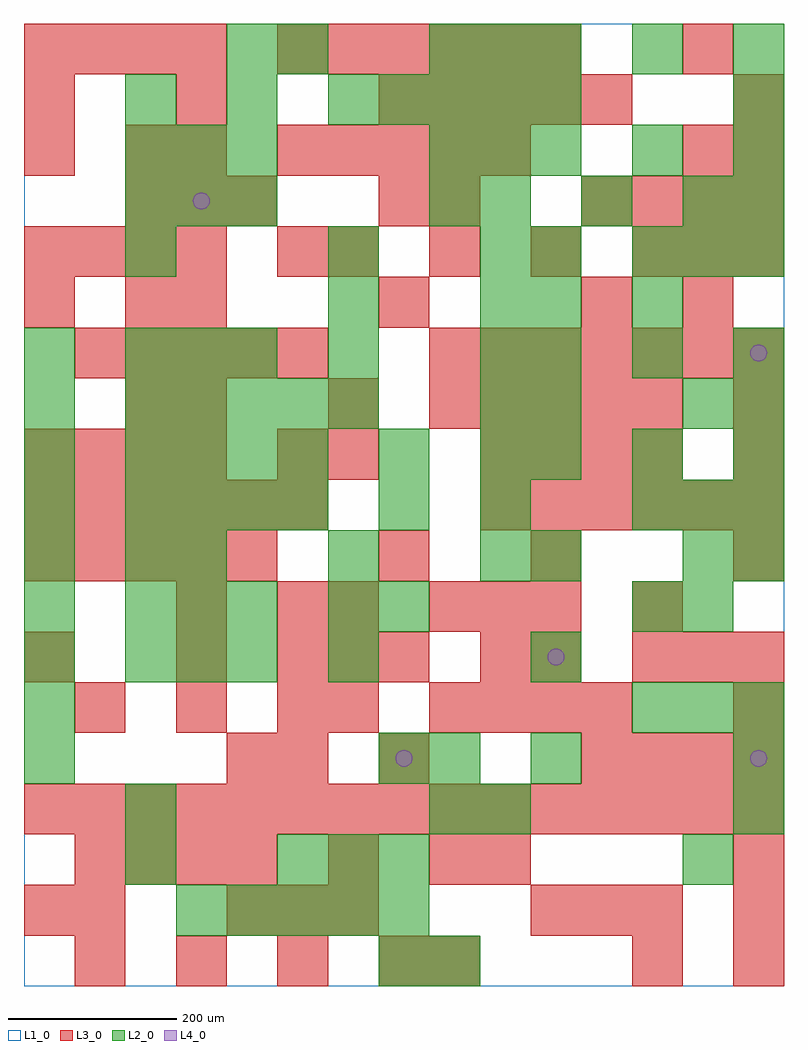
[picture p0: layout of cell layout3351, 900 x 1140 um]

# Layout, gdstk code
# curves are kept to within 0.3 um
import gdstk
lib = gdstk.Library(unit=1e-6, precision=1e-09)
def R(c, l, rs):  # rectangles x0, y0, x1, y1
    for r in rs: c.add(gdstk.rectangle(r[:2], r[2:], *l))
def A(c, l, x, y, w, h, nx, ny, dx, dy):  # array of equal rectangles
    R(c, l, [(x+i*dx, y+j*dy, x+i*dx+w, y+j*dy+h) for i in range(nx) for j in range(ny)])
def P(c, l, *ps):  # polygons
    for p in ps: c.add(gdstk.Polygon(p, *l))
L1_0 = (1, 0)
L2_0 = (2, 0)
L3_0 = (3, 0)
L4_0 = (4, 0)

layout3351 = lib.new_cell('layout3351')
R(layout3351, L1_0, [(0,0,900,1140)])
A(layout3351, L2_0, 180, 60, 60, 60, 5, 1, 60, 0)
A(layout3351, L2_0, 300, 120, 60, 60, 3, 1, 60, 0)
A(layout3351, L2_0, 0, 240, 60, 60, 1, 9, 0, 60)
A(layout3351, L2_0, 600, 240, 60, 60, 1, 3, 0, 120)
A(layout3351, L2_0, 720, 300, 60, 60, 3, 2, 60, 240)
A(layout3351, L2_0, 120, 360, 60, 60, 3, 2, 60, 60)
A(layout3351, L2_0, 180, 480, 60, 60, 3, 1, 180, 0)
A(layout3351, L2_0, 120, 540, 60, 60, 4, 2, 60, 60)
A(layout3351, L2_0, 540, 540, 60, 60, 1, 6, 0, 60)
A(layout3351, L2_0, 600, 600, 60, 60, 3, 2, 120, 120)
A(layout3351, L2_0, 120, 660, 60, 60, 5, 1, 60, 0)
A(layout3351, L2_0, 120, 720, 60, 60, 3, 2, 60, 180)
A(layout3351, L2_0, 360, 720, 60, 60, 1, 3, 0, 60)
A(layout3351, L2_0, 720, 840, 60, 60, 3, 1, 60, 0)
A(layout3351, L2_0, 540, 900, 60, 60, 3, 1, 120, 0)
A(layout3351, L2_0, 840, 900, 60, 60, 1, 4, 0, 60)
A(layout3351, L2_0, 120, 960, 60, 60, 3, 1, 60, 0)
A(layout3351, L2_0, 480, 960, 60, 60, 3, 2, 60, 120)
A(layout3351, L2_0, 120, 1020, 60, 60, 3, 1, 120, 0)
A(layout3351, L2_0, 420, 1020, 60, 60, 4, 1, 60, 0)
R(layout3351, L2_0, [(420,0,480,60), (480,0,540,60), (120,120,180,180), (780,120,840,180), (120,180,180,240), (480,180,540,240), (540,180,600,240), (840,180,900,240), (420,240,480,300), (480,240,540,300), (840,240,900,300), (360,360,420,420), (360,420,420,480), (420,420,480,480), (720,420,780,480), (780,420,840,480), (120,480,180,540), (780,480,840,540), (840,480,900,540), (420,540,480,600), (420,600,480,660), (600,660,660,720), (780,660,840,720), (840,660,900,720), (600,780,660,840), (720,780,780,840), (120,840,180,900), (600,840,660,900), (480,900,540,960), (720,960,780,1020), (240,1080,300,1140), (300,1080,360,1140), (720,1080,780,1140)])
A(layout3351, L3_0, 60, 0, 60, 60, 4, 1, 120, 0)
A(layout3351, L3_0, 840, 0, 60, 60, 1, 3, 0, 60)
A(layout3351, L3_0, 240, 60, 60, 60, 3, 1, 60, 0)
A(layout3351, L3_0, 600, 60, 60, 60, 3, 1, 60, 0)
A(layout3351, L3_0, 60, 120, 60, 60, 4, 1, 60, 0)
A(layout3351, L3_0, 0, 180, 60, 60, 15, 1, 60, 0)
A(layout3351, L3_0, 300, 240, 60, 60, 1, 3, 0, 180)
A(layout3351, L3_0, 660, 240, 60, 60, 4, 2, 60, 660)
A(layout3351, L3_0, 60, 300, 60, 60, 3, 1, 120, 0)
A(layout3351, L3_0, 480, 300, 60, 60, 4, 1, 60, 0)
A(layout3351, L3_0, 300, 360, 60, 60, 3, 1, 60, 0)
A(layout3351, L3_0, 720, 360, 60, 60, 3, 1, 60, 0)
A(layout3351, L3_0, 480, 420, 60, 60, 3, 1, 60, 0)
A(layout3351, L3_0, 0, 480, 60, 60, 5, 1, 60, 0)
A(layout3351, L3_0, 0, 540, 60, 60, 6, 1, 60, 0)
A(layout3351, L3_0, 540, 540, 60, 60, 6, 1, 60, 0)
A(layout3351, L3_0, 0, 600, 60, 60, 4, 3, 60, 240)
A(layout3351, L3_0, 540, 600, 60, 60, 4, 1, 60, 0)
A(layout3351, L3_0, 480, 660, 60, 60, 5, 1, 60, 0)
A(layout3351, L3_0, 60, 720, 60, 60, 5, 1, 60, 0)
A(layout3351, L3_0, 480, 720, 60, 60, 7, 1, 60, 0)
A(layout3351, L3_0, 180, 780, 60, 60, 3, 1, 240, 0)
A(layout3351, L3_0, 360, 840, 60, 60, 4, 1, 120, 0)
A(layout3351, L3_0, 780, 840, 60, 60, 1, 3, 0, 120)
A(layout3351, L3_0, 120, 900, 60, 60, 3, 1, 60, 0)
A(layout3351, L3_0, 300, 960, 60, 60, 5, 1, 60, 0)
A(layout3351, L3_0, 420, 1020, 60, 60, 5, 1, 60, 0)
A(layout3351, L3_0, 300, 1080, 60, 60, 6, 1, 60, 0)
R(layout3351, L3_0, [(480,0,540,60), (720,0,780,60), (0,60,60,120), (60,60,120,120), (360,120,420,180), (480,120,540,180), (540,120,600,180), (240,240,300,300), (420,240,480,300), (360,300,420,360), (840,300,900,360), (0,360,60,420), (180,360,240,420), (540,360,600,420), (600,360,660,420), (180,420,240,480), (360,420,420,480), (720,420,780,480), (420,480,480,540), (600,480,660,540), (840,480,900,540), (360,600,420,660), (840,600,900,660), (120,660,180,720), (180,660,240,720), (360,660,420,720), (840,660,900,720), (0,780,60,840), (120,780,180,840), (780,780,840,840), (300,840,360,900), (840,840,900,900), (420,900,480,960), (480,900,540,960), (0,960,60,1020), (120,960,180,1020), (180,960,240,1020), (840,960,900,1020), (0,1020,60,1080), (180,1020,240,1080), (840,1020,900,1080)])
P(layout3351, L4_0, [(220,930),(219.239,933.827),(217.071,937.071),(213.827,939.239),(210,940),(206.173,939.239),(202.929,937.071),(200.761,933.827),(200,930),(200.761,926.173),(202.929,922.929),(206.173,920.761),(210,920),(213.827,920.761),(217.071,922.929),(219.239,926.173)],
  [(460,270),(459.239,273.827),(457.071,277.071),(453.827,279.239),(450,280),(446.173,279.239),(442.929,277.071),(440.761,273.827),(440,270),(440.761,266.173),(442.929,262.929),(446.173,260.761),(450,260),(453.827,260.761),(457.071,262.929),(459.239,266.173)],
  [(640,390),(639.239,393.827),(637.071,397.071),(633.827,399.239),(630,400),(626.173,399.239),(622.929,397.071),(620.761,393.827),(620,390),(620.761,386.173),(622.929,382.929),(626.173,380.761),(630,380),(633.827,380.761),(637.071,382.929),(639.239,386.173)],
  [(880,270),(879.239,273.827),(877.071,277.071),(873.827,279.239),(870,280),(866.173,279.239),(862.929,277.071),(860.761,273.827),(860,270),(860.761,266.173),(862.929,262.929),(866.173,260.761),(870,260),(873.827,260.761),(877.071,262.929),(879.239,266.173)],
  [(880,750),(879.239,753.827),(877.071,757.071),(873.827,759.239),(870,760),(866.173,759.239),(862.929,757.071),(860.761,753.827),(860,750),(860.761,746.173),(862.929,742.929),(866.173,740.761),(870,740),(873.827,740.761),(877.071,742.929),(879.239,746.173)])

lib.write_gds('layout3351.gds')
